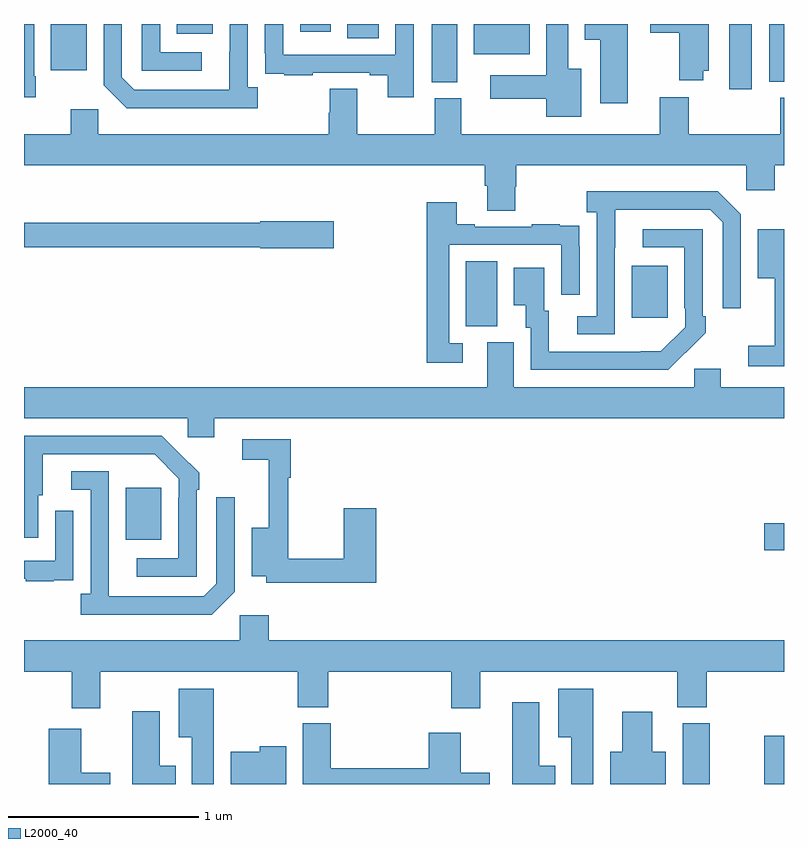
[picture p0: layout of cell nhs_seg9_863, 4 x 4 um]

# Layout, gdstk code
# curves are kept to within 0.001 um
import gdstk
lib = gdstk.Library(unit=1e-6, precision=1e-09)
def R(c, l, rs):  # rectangles x0, y0, x1, y1
    for r in rs: c.add(gdstk.rectangle(r[:2], r[2:], *l))
def P(c, l, *ps):  # polygons
    for p in ps: c.add(gdstk.Polygon(p, *l))
L2000_40 = (2000, 40)

nhs_seg9_863 = lib.new_cell('nhs_seg9_863')
R(nhs_seg9_863, L2000_40, [(160.466,1190.5,160.608,1190.82), (160.897,1190.5,161,1190.755), (160.896,1191.73,161,1191.872), (157.535,1191.785,157.723,1192.06), (159.326,1192.909,159.49,1193.252), (160.199,1192.953,160.387,1193.227), (160.712,1194.156,160.831,1194.5), (159.146,1194.193,159.28,1194.5), (160.922,1194.197,161,1194.5), (157.142,1194.257,157.33,1194.5), (159.368,1194.341,159.661,1194.5), (158.702,1194.424,158.866,1194.5), (157.805,1194.449,157.993,1194.5), (158.453,1194.459,158.614,1194.5)])
P(nhs_seg9_863, L2000_40, [(160.576,1194.255),(160.603,1194.255),(160.603,1194.5),(160.296,1194.5),(160.296,1194.454),(160.448,1194.454),(160.448,1194.203),(160.576,1194.203)],
  [(159.051,1194.5),(158.955,1194.5),(158.955,1194.339),(158.364,1194.339),(158.364,1194.5),(158.268,1194.5),(158.268,1194.346),(158.269,1194.346),(158.269,1194.237),(158.371,1194.237),(158.371,1194.231),(158.519,1194.231),(158.519,1194.243),(158.819,1194.243),(158.819,1194.231),(158.915,1194.231),(158.915,1194.114),(159.051,1194.114)],
  [(158.23,1194.166),(158.178,1194.166),(158.178,1194.5),(158.082,1194.5),(158.081,1194.153),(157.581,1194.153),(157.515,1194.219),(157.515,1194.5),(157.419,1194.5),(157.419,1194.177),(157.54,1194.056),(158.23,1194.056)],
  [(159.934,1194.265),(159.865,1194.265),(159.865,1194.5),(159.749,1194.5),(159.749,1194.229),(159.453,1194.229),(159.453,1194.107),(159.749,1194.107),(159.749,1194.011),(159.934,1194.011)],
  [(157.936,1194.351),(157.716,1194.351),(157.716,1194.5),(157.62,1194.5),(157.62,1194.255),(157.936,1194.255)],
  [(160.177,1194.5),(159.95,1194.5),(159.95,1194.416),(160.034,1194.416),(160.034,1194.084),(160.177,1194.084)],
  [(157.062,1194.226),(157.053,1194.226),(157.053,1194.5),(157,1194.5),(157,1194.114),(157.062,1194.114)],
  [(159.161,1194.108),(159.161,1193.92),(158.755,1193.92),(158.755,1194.158),(158.608,1194.158),(158.608,1194.033),(158.603,1194.033),(158.603,1193.92),(157.392,1193.92),(157.392,1194.052),(157.246,1194.052),(157.246,1193.92),(157,1193.92),(157,1193.756),(159.425,1193.756),(159.425,1193.65),(159.437,1193.65),(159.437,1193.518),(159.585,1193.518),(159.585,1193.643),(159.59,1193.643),(159.59,1193.756),(160.8,1193.756),(160.8,1193.625),(160.952,1193.625),(160.952,1193.756),(161,1193.756),(161,1194.112),(160.979,1194.112),(160.979,1193.92),(160.499,1193.92),(160.499,1194.115),(160.346,1194.115),(160.346,1193.92),(159.301,1193.92),(159.301,1194.108)],
  [(160.11,1193.323),(160.111,1193.523),(160.611,1193.523),(160.677,1193.457),(160.677,1193.004),(160.773,1193.004),(160.773,1193.499),(160.652,1193.62),(159.963,1193.62),(159.963,1193.51),(160.014,1193.51),(160.014,1192.962),(159.912,1192.962),(159.912,1192.866),(160.11,1192.866)],
  [(159.31,1192.821),(159.237,1192.821),(159.237,1193.337),(159.828,1193.337),(159.828,1193.076),(159.924,1193.076),(159.924,1193.33),(159.923,1193.33),(159.923,1193.439),(159.821,1193.439),(159.821,1193.446),(159.673,1193.446),(159.673,1193.433),(159.373,1193.433),(159.373,1193.446),(159.277,1193.446),(159.277,1193.563),(159.121,1193.563),(159.121,1192.716),(159.31,1192.716)],
  [(158.629,1193.463),(158.244,1193.463),(158.244,1193.455),(157,1193.455),(157,1193.326),(158.244,1193.326),(158.244,1193.321),(158.629,1193.321)],
  [(160.481,1192.771),(160.482,1192.77),(160.587,1192.875),(160.587,1192.963),(160.572,1192.963),(160.572,1193.421),(160.257,1193.421),(160.257,1193.325),(160.476,1193.325),(160.476,1193.005),(160.479,1193.005),(160.479,1192.905),(160.351,1192.777),(159.763,1192.776),(159.763,1192.992),(159.739,1192.992),(159.739,1193.218),(159.578,1193.218),(159.578,1193.021),(159.641,1193.021),(159.641,1192.902),(159.666,1192.902),(159.666,1192.68),(160.39,1192.68)],
  [(161,1193.419),(160.862,1193.419),(160.862,1193.162),(160.952,1193.162),(160.952,1192.807),(160.812,1192.807),(160.812,1192.698),(161,1192.698)],
  [(158.002,1192.424),(161,1192.424),(161,1192.588),(160.666,1192.588),(160.666,1192.686),(160.527,1192.686),(160.527,1192.588),(159.577,1192.588),(159.577,1192.824),(159.437,1192.824),(159.437,1192.588),(157,1192.588),(157,1192.424),(157.863,1192.424),(157.863,1192.326),(158.002,1192.326)],
  [(157.908,1192.049),(157.923,1192.049),(157.923,1192.137),(157.726,1192.332),(157.002,1192.332),(157.002,1192.11),(157,1192.11),(157,1191.795),(157.075,1191.795),(157.075,1192.02),(157.099,1192.02),(157.099,1192.236),(157.687,1192.236),(157.815,1192.107),(157.815,1192.007),(157.812,1192.007),(157.812,1191.687),(157.593,1191.687),(157.593,1191.591),(157.908,1191.591)],
  [(158.855,1191.952),(158.684,1191.952),(158.684,1191.686),(158.39,1191.686),(158.39,1192.111),(158.405,1192.111),(158.405,1192.314),(158.148,1192.314),(158.148,1192.206),(158.288,1192.206),(158.288,1191.85),(158.198,1191.85),(158.198,1191.593),(158.274,1191.593),(158.274,1191.558),(158.855,1191.558)],
  [(158.109,1191.513),(158.109,1192.009),(158.013,1192.009),(158.013,1191.555),(157.947,1191.489),(157.447,1191.489),(157.446,1192.146),(157.248,1192.146),(157.248,1192.05),(157.35,1192.05),(157.35,1191.502),(157.299,1191.502),(157.299,1191.392),(157.988,1191.392)],
  [(157.157,1191.573),(157.259,1191.573),(157.259,1191.682),(157.26,1191.682),(157.26,1191.937),(157.164,1191.937),(157.164,1191.675),(157,1191.675),(157,1191.579),(157.009,1191.579),(157.009,1191.567),(157.157,1191.567)],
  [(157.402,1191.092),(158.44,1191.092),(158.44,1190.905),(158.6,1190.905),(158.6,1191.092),(159.248,1191.092),(159.248,1190.898),(159.4,1190.898),(159.4,1191.092),(160.438,1191.092),(160.438,1190.905),(160.593,1190.905),(160.593,1191.092),(161,1191.092),(161,1191.256),(158.288,1191.256),(158.288,1191.388),(158.136,1191.388),(158.136,1191.256),(157,1191.256),(157,1191.092),(157.25,1191.092),(157.25,1190.898),(157.402,1190.898)],
  [(157.999,1191.001),(157.814,1191.001),(157.814,1190.747),(157.883,1190.747),(157.883,1190.5),(157.999,1190.5)],
  [(159.997,1191.001),(159.812,1191.001),(159.812,1190.747),(159.881,1190.747),(159.881,1190.5),(159.997,1190.5)],
  [(159.796,1190.596),(159.712,1190.596),(159.712,1190.929),(159.569,1190.929),(159.569,1190.5),(159.796,1190.5)],
  [(157.798,1190.596),(157.714,1190.596),(157.714,1190.884),(157.571,1190.884),(157.571,1190.5),(157.798,1190.5)],
  [(160.378,1190.671),(160.306,1190.671),(160.306,1190.881),(160.148,1190.881),(160.148,1190.671),(160.085,1190.671),(160.085,1190.5),(160.378,1190.5)],
  [(159.451,1190.559),(159.298,1190.559),(159.298,1190.77),(159.131,1190.77),(159.131,1190.582),(158.615,1190.582),(158.615,1190.82),(158.468,1190.82),(158.468,1190.5),(159.451,1190.5)],
  [(157.453,1190.559),(157.3,1190.559),(157.3,1190.791),(157.13,1190.791),(157.13,1190.5),(157.453,1190.5)],
  [(158.38,1190.698),(158.241,1190.698),(158.241,1190.671),(158.087,1190.671),(158.087,1190.5),(158.38,1190.5)])

lib.write_gds('nhs_seg9_863.gds')
